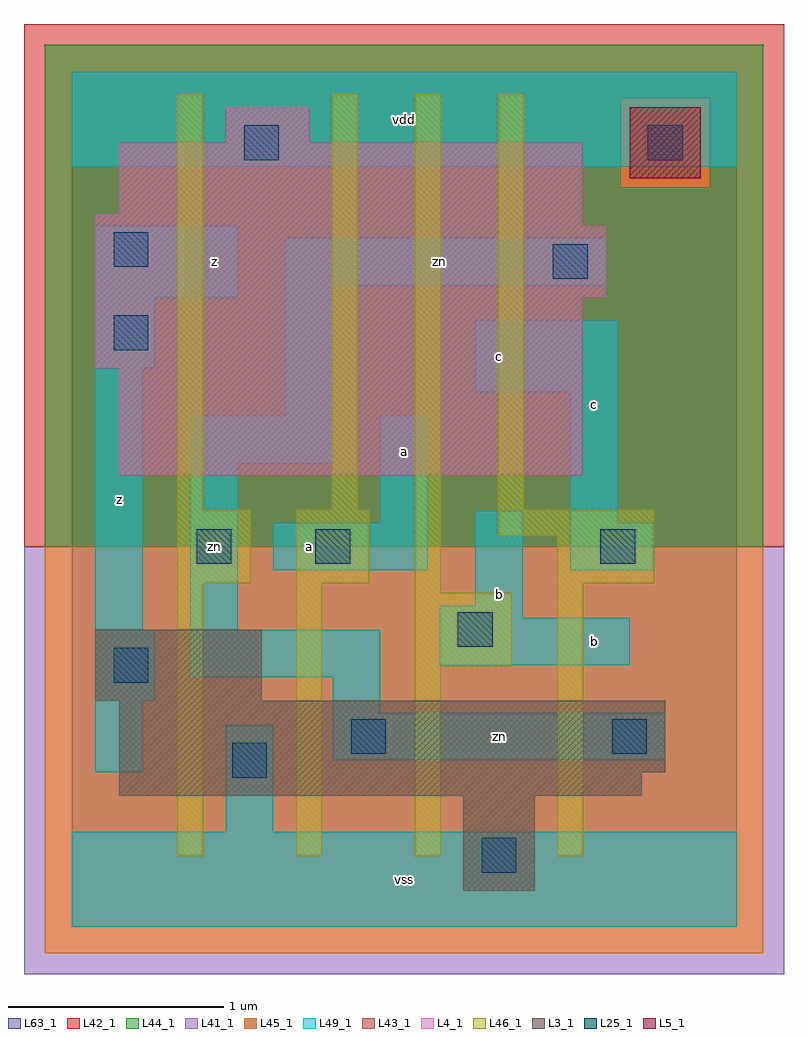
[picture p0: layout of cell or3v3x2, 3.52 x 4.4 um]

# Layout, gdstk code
import gdstk
lib = gdstk.Library(unit=1e-6, precision=1e-09)
def R(c, l, rs):  # rectangles x0, y0, x1, y1
    for r in rs: c.add(gdstk.rectangle(r[:2], r[2:], *l))
L3_1 = (3, 1)
L4_1 = (4, 1)
L5_1 = (5, 1)
L25_1 = (25, 1)
L41_1 = (41, 1)
L42_1 = (42, 1)
L43_1 = (43, 1)
L44_1 = (44, 1)
L45_1 = (45, 1)
L46_1 = (46, 1)
L49_1 = (49, 1)
L63_1 = (63, 1)

or3v3x2 = lib.new_cell('or3v3x2')
R(or3v3x2, L3_1, [(1.815,0.165,2.145,0.605), (0.22,0.605,2.64,0.715), (0.22,0.715,2.75,1.045), (0.11,1.045,0.88,1.375)])
R(or3v3x2, L4_1, [(0.22,2.09,2.365,2.585), (0.11,2.585,2.365,2.915), (0.11,2.915,2.475,3.245), (0.11,3.245,2.365,3.3), (0.22,3.3,2.365,3.63), (0.715,3.63,1.1,3.795)])
R(or3v3x2, L5_1, [(2.585,3.465,2.915,3.795)])
R(or3v3x2, L25_1, [(1.9,0.25,2.06,0.41), (0.745,0.69,0.905,0.85), (1.295,0.8,1.455,0.96), (2.505,0.8,2.665,0.96), (0.195,1.13,0.355,1.29), (1.79,1.295,1.95,1.455), (0.58,1.68,0.74,1.84), (1.13,1.68,1.29,1.84), (2.45,1.68,2.61,1.84), (0.195,2.67,0.355,2.83), (2.23,3,2.39,3.16), (0.195,3.055,0.355,3.215), (0.8,3.55,0.96,3.71), (2.67,3.55,2.83,3.71)])
R(or3v3x2, L41_1, [(-0.22,-0.22,3.3,1.76)])
R(or3v3x2, L42_1, [(-0.22,1.76,3.3,4.18)])
R(or3v3x2, L43_1, [(1.815,0.165,2.145,0.605), (0.22,0.605,2.64,0.715), (0.22,0.715,2.75,1.045), (0.11,1.045,0.88,1.375), (0.22,2.09,2.365,2.585), (0.11,2.585,2.365,2.915), (0.11,2.915,2.475,3.245), (0.11,3.245,2.365,3.3), (0.22,3.3,2.365,3.63), (2.585,3.465,2.915,3.795), (0.715,3.63,1.1,3.795)])
R(or3v3x2, L44_1, [(-0.125,1.76,3.205,3.425), (-0.125,3.425,2.545,3.835), (2.955,3.425,3.205,3.835), (-0.125,3.835,3.205,4.085)])
R(or3v3x2, L45_1, [(-0.125,-0.125,3.205,1.76), (2.545,3.425,2.955,3.835)])
R(or3v3x2, L46_1, [(0.49,0.325,0.61,1.59), (1.04,0.325,1.16,1.59), (1.59,0.325,1.71,1.205), (2.25,0.325,2.37,1.59), (1.59,1.205,2.04,1.545), (1.59,1.545,1.71,3.855), (0.49,1.59,0.83,1.93), (1.04,1.59,1.38,1.93), (2.25,1.59,2.7,1.81), (1.975,1.81,2.7,1.93), (0.49,1.93,0.61,3.855), (1.205,1.93,1.325,3.855), (1.975,1.93,2.095,3.855)])
R(or3v3x2, L49_1, [(0,0,3.08,0.44), (0.715,0.44,0.935,0.935), (0.11,0.715,0.33,1.045), (1.21,0.77,2.75,0.99), (1.21,0.99,1.43,1.155), (0.11,1.045,0.385,1.375), (0.55,1.155,1.43,1.375), (1.705,1.21,2.585,1.43), (0.11,1.375,0.33,2.585), (0.55,1.375,0.77,2.145), (1.705,1.43,2.09,1.485), (1.87,1.485,2.09,1.925), (0.935,1.65,1.65,1.87), (2.31,1.65,2.695,1.87), (1.43,1.87,1.65,2.365), (2.31,1.87,2.53,2.475), (0.55,2.145,1.21,2.365), (0.99,2.365,1.21,2.97), (1.87,2.475,2.53,2.805), (0.11,2.585,0.385,2.915), (0.11,2.915,0.77,3.245), (0.99,2.97,2.475,3.19), (0,3.52,3.08,3.96)])
R(or3v3x2, L63_1, [(0,0,3.08,3.96)])
or3v3x2.add(gdstk.Label('zn', (0.66,1.76), layer=49, texttype=1))
or3v3x2.add(gdstk.Label('z', (0.22,1.98), layer=49, texttype=1))
or3v3x2.add(gdstk.Label('a', (1.1,1.76), layer=49, texttype=1))
or3v3x2.add(gdstk.Label('zn', (0.66,1.76), layer=49, texttype=1))
or3v3x2.add(gdstk.Label('z', (0.66,3.08), layer=49, texttype=1))
or3v3x2.add(gdstk.Label('vss', (1.54,0.22), layer=49, texttype=1))
or3v3x2.add(gdstk.Label('b', (1.98,1.54), layer=49, texttype=1))
or3v3x2.add(gdstk.Label('a', (1.54,2.2), layer=49, texttype=1))
or3v3x2.add(gdstk.Label('c', (1.98,2.64), layer=49, texttype=1))
or3v3x2.add(gdstk.Label('vdd', (1.54,3.74), layer=49, texttype=1))
or3v3x2.add(gdstk.Label('zn', (1.98,0.88), layer=49, texttype=1))
or3v3x2.add(gdstk.Label('b', (2.42,1.32), layer=49, texttype=1))
or3v3x2.add(gdstk.Label('c', (2.42,2.42), layer=49, texttype=1))
or3v3x2.add(gdstk.Label('zn', (1.705,3.08), layer=49, texttype=1))

lib.write_gds('or3v3x2.gds')
